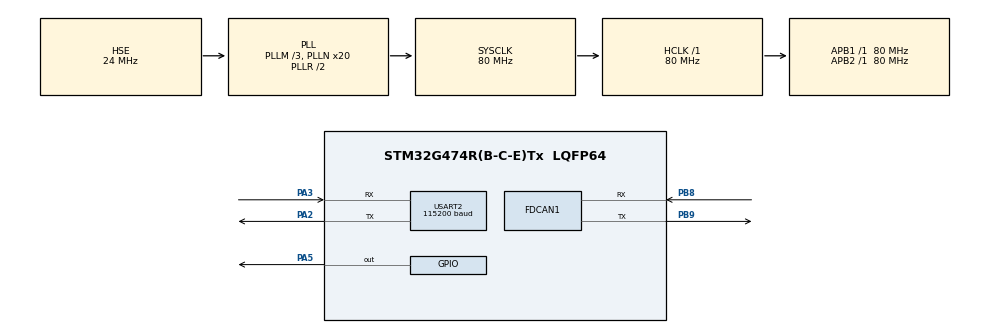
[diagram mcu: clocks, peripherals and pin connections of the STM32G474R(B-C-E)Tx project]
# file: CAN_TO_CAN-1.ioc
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FDCAN1.AutoRetransmission=ENABLE
FDCAN1.CalculateBaudRateNominal=125000
FDCAN1.CalculateTimeBitNominal=8000
FDCAN1.CalculateTimeQuantumNominal=25.0
FDCAN1.DataPrescaler=2
FDCAN1.DataSyncJumpWidth=8
FDCAN1.DataTimeSeg1=31
FDCAN1.DataTimeSeg2=8
FDCAN1.FrameFormat=FDCAN_FRAME_FD_NO_BRS
FDCAN1.NominalPrescaler=2
FDCAN1.NominalSyncJumpWidth=128
FDCAN1.NominalTimeSeg1=191
FDCAN1.NominalTimeSeg2=128
FDCAN1.StdFiltersNbr=1
Mcu.Family=STM32G4
Mcu.Name=STM32G474R(B-C-E)Tx
Mcu.Package=LQFP64
NUCLEO-G474RE.BUTTON=1
NUCLEO-G474RE.LD2=true
NUCLEO-G474RE.VCP=true
NVIC.FDCAN1_IT0_IRQn=true\:0\:0\:false\:false\:true\:true\:true\:true
NVIC.FDCAN1_IT1_IRQn=true\:0\:0\:false\:false\:true\:true\:true\:true
NVIC.PriorityGroup=NVIC_PRIORITYGROUP_4
PA13.Mode=Serial_Wire
PA13.Signal=SYS_JTMS-SWDIO
PA14.Mode=Serial_Wire
PA14.Signal=SYS_JTCK-SWCLK
PA2.Mode=Asynchronous
PA2.Signal=USART2_TX
PA3.Mode=Asynchronous
PA3.Signal=USART2_RX
PA5.Signal=GPIO_Output
PB8-BOOT0.GPIO_PuPd=GPIO_PULLUP
PB8-BOOT0.Mode=FDCAN_Activate
PB8-BOOT0.Signal=FDCAN1_RX
PB9.Mode=FDCAN_Activate
PB9.Signal=FDCAN1_TX
PF0-OSC_IN.Mode=HSE-External-Oscillator
PF0-OSC_IN.Signal=RCC_OSC_IN
PF1-OSC_OUT.Mode=HSE-External-Oscillator
PF1-OSC_OUT.Signal=RCC_OSC_OUT
ProjectManager.HeapSize=0x200
ProjectManager.StackSize=0x400
ProjectManager.TargetToolchain=STM32CubeIDE
RCC.ADC12Freq_Value=80000000
RCC.ADC345Freq_Value=80000000
RCC.AHBFreq_Value=80000000
RCC.APB1Freq_Value=80000000
RCC.APB1TimFreq_Value=80000000
RCC.APB2Freq_Value=80000000
RCC.APB2TimFreq_Value=80000000
RCC.CortexFreq_Value=80000000
RCC.EXTERNAL_CLOCK_VALUE=12288000
RCC.HCLKFreq_Value=80000000
RCC.HSE_VALUE=24000000
RCC.HSI48_VALUE=48000000
RCC.HSI_VALUE=16000000
RCC.LSE_VALUE=32768
RCC.PLLM=RCC_PLLM_DIV3
RCC.PLLN=20
RCC.PLLSourceVirtual=RCC_PLLSOURCE_HSE
RCC.RTCClockSelection=RCC_RTCCLKSOURCE_LSE
RCC.SYSCLKFreq_VALUE=80000000
RCC.SYSCLKSource=RCC_SYSCLKSOURCE_PLLCLK
RCC.USBFreq_Value=80000000
RCC.VCOOutputFreq_Value=160000000
USART2.BaudRate=115200
USART2.VirtualMode-Asynchronous=VM_ASYNC
VP_SYS_VS_DBSignals.Mode=DisableDeadBatterySignals
board=NUCLEO-G474RE

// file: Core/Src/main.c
/* USER CODE BEGIN Header */
/**
  ******************************************************************************
  * @file           : main.c
  * @brief          : Main program body
  ******************************************************************************
  * @attention
  *
  * Copyright (c) 2025 STMicroelectronics.
  * All rights reserved.
  *
  * This software is licensed under terms that can be found in the LICENSE file
  * in the root directory of this software component.
  * If no LICENSE file comes with this software, it is provided AS-IS.
  *
  ******************************************************************************
  */
/* USER CODE END Header */
#include "main.h"

/* USER CODE BEGIN Includes */
#include<stdio.h>
#include<math.h>
#include<string.h>
/* USER CODE END Includes */

FDCAN_HandleTypeDef hfdcan1;

UART_HandleTypeDef huart2;

/* USER CODE BEGIN PV */

FDCAN_RxHeaderTypeDef RxHeader;
uint8_t RxData[8];

char buffer[100];

/* USER CODE END PV */

void SystemClock_Config(void);
static void MX_GPIO_Init(void);
static void MX_FDCAN1_Init(void);
static void MX_USART2_UART_Init(void);

/* USER CODE BEGIN 0 */

typedef struct {
    float roll;
    float pitch;
} EulerAngles;
EulerAngles angles;

float bytesToFloat(uint8_t *bytes) {
    float value;
    memcpy(&value, bytes, sizeof(float));
    return value;
}

void CANtoEuler(uint8_t* RxData, uint32_t RxIdentifier, EulerAngles* angles) {

	float roll_rad = bytesToFloat(&RxData[0]);
    float pitch_rad = bytesToFloat(&RxData[4]);

    angles->roll = roll_rad;
    angles->pitch = pitch_rad;
}
void HAL_FDCAN_RxFifo0Callback(FDCAN_HandleTypeDef *hfdcan, uint32_t RxFifo0ITs){

	if(HAL_FDCAN_GetRxMessage(hfdcan,FDCAN_RX_FIFO0,&RxHeader,RxData)== HAL_OK){
//
//		HAL_GPIO_TogglePin(GPIOA, GPIO_PIN_5);

   if (RxHeader.DataLength == FDCAN_DLC_BYTES_8) {

     CANtoEuler(RxData, RxHeader.Identifier, &angles);

     int len = sprintf(buffer,"ID: 0x%lx  Roll: %.2f  Pitch: %.2f\r\n", RxHeader.Identifier, angles.roll, angles.pitch);
     HAL_UART_Transmit(&huart2, (uint8_t*)buffer,len, HAL_MAX_DELAY);
        }
}
}
/* USER CODE END 0 */

int main(void)
{

  /* MCU Configuration--------------------------------------------------------*/

  /* Reset of all peripherals, Initializes the Flash interface and the Systick. */
  HAL_Init();

  /* Configure the system clock */
  SystemClock_Config();

  /* Initialize all configured peripherals */
  MX_GPIO_Init();
  MX_FDCAN1_Init();
  MX_USART2_UART_Init();
  /* USER CODE BEGIN 2 */
 HAL_FDCAN_Start(&hfdcan1);

 HAL_FDCAN_ActivateNotification(&hfdcan1, FDCAN_IT_RX_FIFO0_NEW_MESSAGE,0);

  /* USER CODE END 2 */

  /* Infinite loop */
  while (1)
  {

  }
}

void SystemClock_Config(void)
{
  RCC_OscInitTypeDef RCC_OscInitStruct = {0};
  RCC_ClkInitTypeDef RCC_ClkInitStruct = {0};

  /** Configure the main internal regulator output voltage
  */
  HAL_PWREx_ControlVoltageScaling(PWR_REGULATOR_VOLTAGE_SCALE1);

  /** Initializes the RCC Oscillators according to the specified parameters
  * in the RCC_OscInitTypeDef structure.
  */
  RCC_OscInitStruct.OscillatorType = RCC_OSCILLATORTYPE_HSE;
  RCC_OscInitStruct.HSEState = RCC_HSE_ON;
  RCC_OscInitStruct.PLL.PLLState = RCC_PLL_ON;
  RCC_OscInitStruct.PLL.PLLSource = RCC_PLLSOURCE_HSE;
  RCC_OscInitStruct.PLL.PLLM = RCC_PLLM_DIV3;
  RCC_OscInitStruct.PLL.PLLN = 20;
  RCC_OscInitStruct.PLL.PLLP = RCC_PLLP_DIV2;
  RCC_OscInitStruct.PLL.PLLQ = RCC_PLLQ_DIV2;
  RCC_OscInitStruct.PLL.PLLR = RCC_PLLR_DIV2;
  if (HAL_RCC_OscConfig(&RCC_OscInitStruct) != HAL_OK)
  {
    Error_Handler();
  }

  /** Initializes the CPU, AHB and APB buses clocks
  */
  RCC_ClkInitStruct.ClockType = RCC_CLOCKTYPE_HCLK|RCC_CLOCKTYPE_SYSCLK
                              |RCC_CLOCKTYPE_PCLK1|RCC_CLOCKTYPE_PCLK2;
  RCC_ClkInitStruct.SYSCLKSource = RCC_SYSCLKSOURCE_PLLCLK;
  RCC_ClkInitStruct.AHBCLKDivider = RCC_SYSCLK_DIV1;
  RCC_ClkInitStruct.APB1CLKDivider = RCC_HCLK_DIV1;
  RCC_ClkInitStruct.APB2CLKDivider = RCC_HCLK_DIV1;

  if (HAL_RCC_ClockConfig(&RCC_ClkInitStruct, FLASH_LATENCY_2) != HAL_OK)
  {
    Error_Handler();
  }
}

static void MX_FDCAN1_Init(void)
{

  hfdcan1.Instance = FDCAN1;
  hfdcan1.Init.ClockDivider = FDCAN_CLOCK_DIV1;
  hfdcan1.Init.FrameFormat = FDCAN_FRAME_FD_NO_BRS;
  hfdcan1.Init.Mode = FDCAN_MODE_NORMAL;
  hfdcan1.Init.AutoRetransmission = ENABLE;
  hfdcan1.Init.TransmitPause = DISABLE;
  hfdcan1.Init.ProtocolException = DISABLE;
  hfdcan1.Init.NominalPrescaler = 2;
  hfdcan1.Init.NominalSyncJumpWidth = 128;
  hfdcan1.Init.NominalTimeSeg1 = 191;
  hfdcan1.Init.NominalTimeSeg2 = 128;
  hfdcan1.Init.DataPrescaler = 2;
  hfdcan1.Init.DataSyncJumpWidth = 8;
  hfdcan1.Init.DataTimeSeg1 = 31;
  hfdcan1.Init.DataTimeSeg2 = 8;
  hfdcan1.Init.StdFiltersNbr = 1;
  hfdcan1.Init.ExtFiltersNbr = 0;
  hfdcan1.Init.TxFifoQueueMode = FDCAN_TX_FIFO_OPERATION;
  if (HAL_FDCAN_Init(&hfdcan1) != HAL_OK)
  {
    Error_Handler();
  }
  /* USER CODE BEGIN FDCAN1_Init 2 */
  FDCAN_FilterTypeDef Filterconfigure;

    Filterconfigure.FilterConfig = FDCAN_FILTER_TO_RXFIFO0 ;
    Filterconfigure.FilterType = FDCAN_FILTER_MASK;
    Filterconfigure.IdType = FDCAN_STANDARD_ID ;
    Filterconfigure.FilterID1 = 0x000;
    Filterconfigure.FilterID2 = 0x000;
    Filterconfigure.FilterIndex = 0;

    if(HAL_FDCAN_ConfigFilter(&hfdcan1,&Filterconfigure)!= HAL_OK){

  	 Error_Handler();
    }

  /* USER CODE END FDCAN1_Init 2 */

}

static void MX_USART2_UART_Init(void)
{

  huart2.Instance = USART2;
  huart2.Init.BaudRate = 115200;
  huart2.Init.WordLength = UART_WORDLENGTH_8B;
  huart2.Init.StopBits = UART_STOPBITS_1;
  huart2.Init.Parity = UART_PARITY_NONE;
  huart2.Init.Mode = UART_MODE_TX_RX;
  huart2.Init.HwFlowCtl = UART_HWCONTROL_NONE;
  huart2.Init.OverSampling = UART_OVERSAMPLING_16;
  huart2.Init.OneBitSampling = UART_ONE_BIT_SAMPLE_DISABLE;
  huart2.Init.ClockPrescaler = UART_PRESCALER_DIV1;
  huart2.AdvancedInit.AdvFeatureInit = UART_ADVFEATURE_NO_INIT;
  if (HAL_UART_Init(&huart2) != HAL_OK)
  {
    Error_Handler();
  }
  if (HAL_UARTEx_SetTxFifoThreshold(&huart2, UART_TXFIFO_THRESHOLD_1_8) != HAL_OK)
  {
    Error_Handler();
  }
  if (HAL_UARTEx_SetRxFifoThreshold(&huart2, UART_RXFIFO_THRESHOLD_1_8) != HAL_OK)
  {
    Error_Handler();
  }
  if (HAL_UARTEx_DisableFifoMode(&huart2) != HAL_OK)
  {
    Error_Handler();
  }

}

static void MX_GPIO_Init(void)
{
  GPIO_InitTypeDef GPIO_InitStruct = {0};

  /* GPIO Ports Clock Enable */
  __HAL_RCC_GPIOF_CLK_ENABLE();
  __HAL_RCC_GPIOA_CLK_ENABLE();
  __HAL_RCC_GPIOB_CLK_ENABLE();

  /*Configure GPIO pin Output Level */
  HAL_GPIO_WritePin(GPIOA, GPIO_PIN_5, GPIO_PIN_RESET);

  /*Configure GPIO pin : PA5 */
  GPIO_InitStruct.Pin = GPIO_PIN_5;
  GPIO_InitStruct.Mode = GPIO_MODE_OUTPUT_PP;
  GPIO_InitStruct.Pull = GPIO_NOPULL;
  GPIO_InitStruct.Speed = GPIO_SPEED_FREQ_LOW;
  HAL_GPIO_Init(GPIOA, &GPIO_InitStruct);

}

void Error_Handler(void)
{
  __disable_irq();
  while (1)
  {
  }
}
